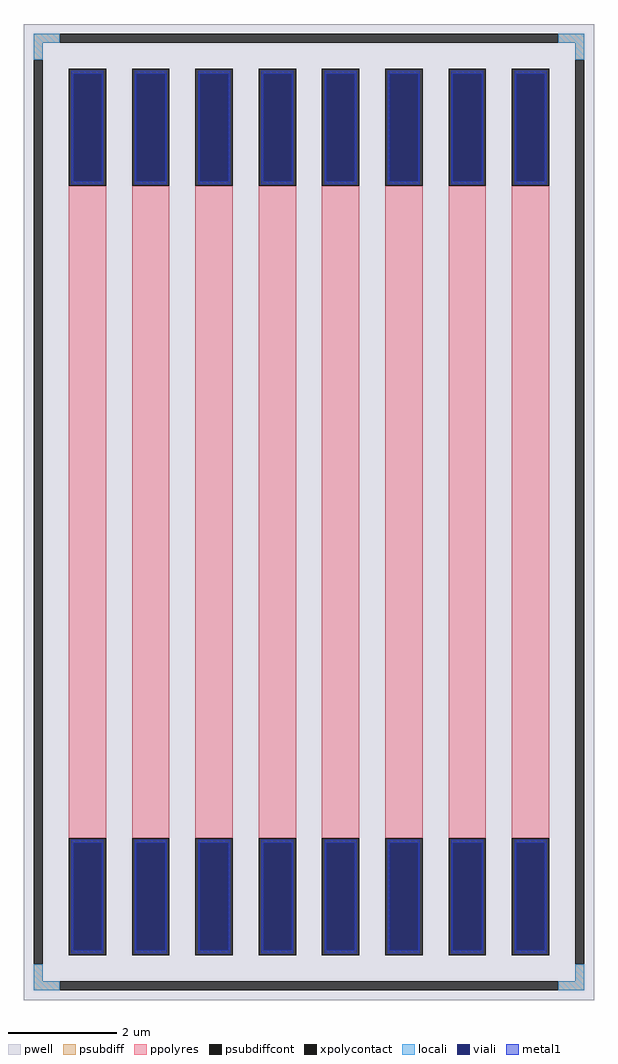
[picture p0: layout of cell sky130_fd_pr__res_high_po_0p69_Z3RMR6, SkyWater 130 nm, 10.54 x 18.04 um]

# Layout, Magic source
magic
tech sky130A
magscale 1 2
<< pwell >>
rect -1054 -1804 1054 1804
<< psubdiff >>
rect -1018 1734 -922 1768
rect 922 1734 1018 1768
rect -1018 1672 -984 1734
rect 984 1672 1018 1734
rect -1018 -1734 -984 -1672
rect 984 -1734 1018 -1672
rect -1018 -1768 -922 -1734
rect 922 -1768 1018 -1734
<< psubdiffcont >>
rect -922 1734 922 1768
rect -1018 -1672 -984 1672
rect 984 -1672 1018 1672
rect -922 -1768 922 -1734
<< xpolycontact >>
rect -888 1206 -750 1638
rect -888 -1638 -750 -1206
rect -654 1206 -516 1638
rect -654 -1638 -516 -1206
rect -420 1206 -282 1638
rect -420 -1638 -282 -1206
rect -186 1206 -48 1638
rect -186 -1638 -48 -1206
rect 48 1206 186 1638
rect 48 -1638 186 -1206
rect 282 1206 420 1638
rect 282 -1638 420 -1206
rect 516 1206 654 1638
rect 516 -1638 654 -1206
rect 750 1206 888 1638
rect 750 -1638 888 -1206
<< ppolyres >>
rect -888 -1206 -750 1206
rect -654 -1206 -516 1206
rect -420 -1206 -282 1206
rect -186 -1206 -48 1206
rect 48 -1206 186 1206
rect 282 -1206 420 1206
rect 516 -1206 654 1206
rect 750 -1206 888 1206
<< locali >>
rect -1018 1734 -922 1768
rect 922 1734 1018 1768
rect -1018 1672 -984 1734
rect 984 1672 1018 1734
rect -1018 -1734 -984 -1672
rect 984 -1734 1018 -1672
rect -1018 -1768 -922 -1734
rect 922 -1768 1018 -1734
<< viali >>
rect -872 1223 -766 1620
rect -638 1223 -532 1620
rect -404 1223 -298 1620
rect -170 1223 -64 1620
rect 64 1223 170 1620
rect 298 1223 404 1620
rect 532 1223 638 1620
rect 766 1223 872 1620
rect -872 -1620 -766 -1223
rect -638 -1620 -532 -1223
rect -404 -1620 -298 -1223
rect -170 -1620 -64 -1223
rect 64 -1620 170 -1223
rect 298 -1620 404 -1223
rect 532 -1620 638 -1223
rect 766 -1620 872 -1223
<< metal1 >>
rect -878 1620 -760 1632
rect -878 1223 -872 1620
rect -766 1223 -760 1620
rect -878 1211 -760 1223
rect -644 1620 -526 1632
rect -644 1223 -638 1620
rect -532 1223 -526 1620
rect -644 1211 -526 1223
rect -410 1620 -292 1632
rect -410 1223 -404 1620
rect -298 1223 -292 1620
rect -410 1211 -292 1223
rect -176 1620 -58 1632
rect -176 1223 -170 1620
rect -64 1223 -58 1620
rect -176 1211 -58 1223
rect 58 1620 176 1632
rect 58 1223 64 1620
rect 170 1223 176 1620
rect 58 1211 176 1223
rect 292 1620 410 1632
rect 292 1223 298 1620
rect 404 1223 410 1620
rect 292 1211 410 1223
rect 526 1620 644 1632
rect 526 1223 532 1620
rect 638 1223 644 1620
rect 526 1211 644 1223
rect 760 1620 878 1632
rect 760 1223 766 1620
rect 872 1223 878 1620
rect 760 1211 878 1223
rect -878 -1223 -760 -1211
rect -878 -1620 -872 -1223
rect -766 -1620 -760 -1223
rect -878 -1632 -760 -1620
rect -644 -1223 -526 -1211
rect -644 -1620 -638 -1223
rect -532 -1620 -526 -1223
rect -644 -1632 -526 -1620
rect -410 -1223 -292 -1211
rect -410 -1620 -404 -1223
rect -298 -1620 -292 -1223
rect -410 -1632 -292 -1620
rect -176 -1223 -58 -1211
rect -176 -1620 -170 -1223
rect -64 -1620 -58 -1223
rect -176 -1632 -58 -1620
rect 58 -1223 176 -1211
rect 58 -1620 64 -1223
rect 170 -1620 176 -1223
rect 58 -1632 176 -1620
rect 292 -1223 410 -1211
rect 292 -1620 298 -1223
rect 404 -1620 410 -1223
rect 292 -1632 410 -1620
rect 526 -1223 644 -1211
rect 526 -1620 532 -1223
rect 638 -1620 644 -1223
rect 526 -1632 644 -1620
rect 760 -1223 878 -1211
rect 760 -1620 766 -1223
rect 872 -1620 878 -1223
rect 760 -1632 878 -1620
<< properties >>
string FIXED_BBOX -1001 -1751 1001 1751
string gencell sky130_fd_pr__res_high_po_0p69
string library sky130
string parameters w 0.690 l 12.22 m 1 nx 8 wmin 0.690 lmin 0.50 rho 319.8 val 6.228k dummy 0 dw 0.0 term 194.82 sterm 0.0 caplen 0 guard 1 glc 1 grc 1 gtc 1 gbc 1 compatible {sky130_fd_pr__res_high_po_0p35  sky130_fd_pr__res_high_po_0p69 sky130_fd_pr__res_high_po_1p41  sky130_fd_pr__res_high_po_2p85 sky130_fd_pr__res_high_po_5p73} snake 0 full_metal 1 wmax 0.690 n_guard 0 hv_guard 0 vias 1 viagb 0 viagt 0 viagl 0 viagr 0
<< end >>
